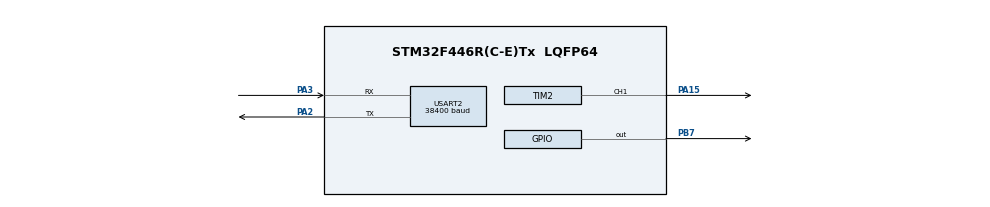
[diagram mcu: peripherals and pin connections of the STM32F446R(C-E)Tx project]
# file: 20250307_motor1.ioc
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Mcu.Family=STM32F4
Mcu.Name=STM32F446R(C-E)Tx
Mcu.Package=LQFP64
NVIC.PriorityGroup=NVIC_PRIORITYGROUP_4
PA15.Signal=S_TIM2_CH1_ETR
PA2.Mode=Asynchronous
PA2.Signal=USART2_TX
PA3.Mode=Asynchronous
PA3.Signal=USART2_RX
PB7.Signal=GPIO_Output
ProjectManager.HeapSize=0x200
ProjectManager.StackSize=0x400
ProjectManager.TargetToolchain=STM32CubeIDE
RCC.CortexFreq_Value=16000000
RCC.USBFreq_Value=96000000
RCC.VCOOutputFreq_Value=192000000
SH.S_TIM2_CH1_ETR.0=TIM2_CH1,PWM Generation1 CH1
TIM2.Channel-PWM\ Generation1\ CH1=TIM_CHANNEL_1
TIM2.OC1Preload_PWM=DISABLE
TIM2.Period=255
TIM2.Prescaler=4
USART2.BaudRate=38400
USART2.VirtualMode=VM_ASYNC
board=custom

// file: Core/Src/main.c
/* USER CODE BEGIN Header */
/**
  ******************************************************************************
  * @file           : main.c
  * @brief          : Main program body
  ******************************************************************************
  * @attention
  *
  * Copyright (c) 2025 STMicroelectronics.
  * All rights reserved.
  *
  * This software is licensed under terms that can be found in the LICENSE file
  * in the root directory of this software component.
  * If no LICENSE file comes with this software, it is provided AS-IS.
  *
  ******************************************************************************
  */
/* USER CODE END Header */
#include "main.h"

/* USER CODE BEGIN Includes */
#include "manydef.h"
#include "STprintf.h"
#include <stdio.h>

/* USER CODE END Includes */

TIM_HandleTypeDef htim2;

UART_HandleTypeDef huart2;

void SystemClock_Config(void);
static void MX_GPIO_Init(void);
static void MX_TIM2_Init(void);
static void MX_USART2_UART_Init(void);

int main(void)
{

  /* MCU Configuration--------------------------------------------------------*/

  /* Reset of all peripherals, Initializes the Flash interface and the Systick. */
  HAL_Init();

  /* Configure the system clock */
  SystemClock_Config();

  /* Initialize all configured peripherals */
  MX_GPIO_Init();
  MX_TIM2_Init();
  MX_USART2_UART_Init();
  /* USER CODE BEGIN 2 */
  STprintf(&huart2);
  /* USER CODE END 2 */

  /* Infinite loop */
  /* USER CODE BEGIN WHILE */
  while (1)
  {
	  HAL_TIM_PWM_Start(&htim2, TIMCH_1);
    /* USER CODE END WHILE */

    /* USER CODE BEGIN 3 */
	  HAL_GPIO_WritePin(GPIOB, GPIO_Pin_7, 1);
	  __HAL_TIM_SET_COMPARE(&htim2,TIMCH_1,0);
	  for(int i = 0;i < 255;i++){
		  HAL_GPIO_WritePin(GPIOB, GPIO_Pin_7, 0);
		  __HAL_TIM_SET_COMPARE(&htim2,TIMCH_1,i);
		  printf("1 %3d\r\n",i);
		  HAL_Delay(10);
	  }
	  for(int i = 255;i > 0;i--){
		  HAL_GPIO_WritePin(GPIOB, GPIO_Pin_7, 0);
		  __HAL_TIM_SET_COMPARE(&htim2,TIMCH_1,i);
		  printf("1 %3d\r\n",i);
		  HAL_Delay(10);
	  }
	  for(int i = 255;i > 0;i--){
		  HAL_GPIO_WritePin(GPIOB, GPIO_Pin_7, 1);
		  __HAL_TIM_SET_COMPARE(&htim2,TIMCH_1,i);
		  printf("0 %3d\r\n",i);
		  HAL_Delay(10);
	  }
	  for(int i = 0;i < 255;i++){
		  HAL_GPIO_WritePin(GPIOB, GPIO_Pin_7, 1);
		  __HAL_TIM_SET_COMPARE(&htim2,TIMCH_1,i);
		  printf("0 %3d\r\n",i);
		  HAL_Delay(10);
	  }

  }
  /* USER CODE END 3 */
}

void SystemClock_Config(void)
{
  RCC_OscInitTypeDef RCC_OscInitStruct = {0};
  RCC_ClkInitTypeDef RCC_ClkInitStruct = {0};

  /** Configure the main internal regulator output voltage
  */
  __HAL_RCC_PWR_CLK_ENABLE();
  __HAL_PWR_VOLTAGESCALING_CONFIG(PWR_REGULATOR_VOLTAGE_SCALE3);

  /** Initializes the RCC Oscillators according to the specified parameters
  * in the RCC_OscInitTypeDef structure.
  */
  RCC_OscInitStruct.OscillatorType = RCC_OSCILLATORTYPE_HSI;
  RCC_OscInitStruct.HSIState = RCC_HSI_ON;
  RCC_OscInitStruct.HSICalibrationValue = RCC_HSICALIBRATION_DEFAULT;
  RCC_OscInitStruct.PLL.PLLState = RCC_PLL_NONE;
  if (HAL_RCC_OscConfig(&RCC_OscInitStruct) != HAL_OK)
  {
    Error_Handler();
  }

  /** Initializes the CPU, AHB and APB buses clocks
  */
  RCC_ClkInitStruct.ClockType = RCC_CLOCKTYPE_HCLK|RCC_CLOCKTYPE_SYSCLK
                              |RCC_CLOCKTYPE_PCLK1|RCC_CLOCKTYPE_PCLK2;
  RCC_ClkInitStruct.SYSCLKSource = RCC_SYSCLKSOURCE_HSI;
  RCC_ClkInitStruct.AHBCLKDivider = RCC_SYSCLK_DIV1;
  RCC_ClkInitStruct.APB1CLKDivider = RCC_HCLK_DIV1;
  RCC_ClkInitStruct.APB2CLKDivider = RCC_HCLK_DIV1;

  if (HAL_RCC_ClockConfig(&RCC_ClkInitStruct, FLASH_LATENCY_0) != HAL_OK)
  {
    Error_Handler();
  }
}

static void MX_TIM2_Init(void)
{

  TIM_MasterConfigTypeDef sMasterConfig = {0};
  TIM_OC_InitTypeDef sConfigOC = {0};

  htim2.Instance = TIM2;
  htim2.Init.Prescaler = 4;
  htim2.Init.CounterMode = TIM_COUNTERMODE_UP;
  htim2.Init.Period = 255;
  htim2.Init.ClockDivision = TIM_CLOCKDIVISION_DIV1;
  htim2.Init.AutoReloadPreload = TIM_AUTORELOAD_PRELOAD_DISABLE;
  if (HAL_TIM_PWM_Init(&htim2) != HAL_OK)
  {
    Error_Handler();
  }
  sMasterConfig.MasterOutputTrigger = TIM_TRGO_RESET;
  sMasterConfig.MasterSlaveMode = TIM_MASTERSLAVEMODE_DISABLE;
  if (HAL_TIMEx_MasterConfigSynchronization(&htim2, &sMasterConfig) != HAL_OK)
  {
    Error_Handler();
  }
  sConfigOC.OCMode = TIM_OCMODE_PWM1;
  sConfigOC.Pulse = 0;
  sConfigOC.OCPolarity = TIM_OCPOLARITY_HIGH;
  sConfigOC.OCFastMode = TIM_OCFAST_DISABLE;
  if (HAL_TIM_PWM_ConfigChannel(&htim2, &sConfigOC, TIM_CHANNEL_1) != HAL_OK)
  {
    Error_Handler();
  }
  __HAL_TIM_DISABLE_OCxPRELOAD(&htim2, TIM_CHANNEL_1);
  HAL_TIM_MspPostInit(&htim2);

}

static void MX_USART2_UART_Init(void)
{

  huart2.Instance = USART2;
  huart2.Init.BaudRate = 38400;
  huart2.Init.WordLength = UART_WORDLENGTH_8B;
  huart2.Init.StopBits = UART_STOPBITS_1;
  huart2.Init.Parity = UART_PARITY_NONE;
  huart2.Init.Mode = UART_MODE_TX_RX;
  huart2.Init.HwFlowCtl = UART_HWCONTROL_NONE;
  huart2.Init.OverSampling = UART_OVERSAMPLING_16;
  if (HAL_UART_Init(&huart2) != HAL_OK)
  {
    Error_Handler();
  }

}

static void MX_GPIO_Init(void)
{
  GPIO_InitTypeDef GPIO_InitStruct = {0};

  /* GPIO Ports Clock Enable */
  __HAL_RCC_GPIOA_CLK_ENABLE();
  __HAL_RCC_GPIOB_CLK_ENABLE();

  /*Configure GPIO pin Output Level */
  HAL_GPIO_WritePin(GPIOB, GPIO_PIN_7, GPIO_PIN_RESET);

  /*Configure GPIO pin : PB7 */
  GPIO_InitStruct.Pin = GPIO_PIN_7;
  GPIO_InitStruct.Mode = GPIO_MODE_OUTPUT_PP;
  GPIO_InitStruct.Pull = GPIO_NOPULL;
  GPIO_InitStruct.Speed = GPIO_SPEED_FREQ_LOW;
  HAL_GPIO_Init(GPIOB, &GPIO_InitStruct);

}

void Error_Handler(void)
{
  __disable_irq();
  while (1)
  {
  }
}
